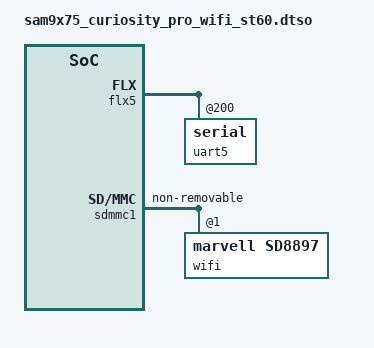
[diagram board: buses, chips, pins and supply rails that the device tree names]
// SPDX-License-Identifier: (GPL-2.0+ OR MIT)
/*
 *  Device Tree overlay for SAM9x75-CURIOSITY-PRO board
 *  in order to use ST60 M.2 SDIO/UART WIFI/BLE chip
 *
 *  Copyright (c) 2026 Microchip Technology Inc. and its subsidiaries
 *
 *  Author: Ryan Wanner <ryan.wanner@microchip.com>
 *
 */
/dts-v1/;
/plugin/;
#include <dt-bindings/mfd/atmel-flexcom.h>
#include <dt-bindings/pinctrl/at91.h>

&flx5 {
	atmel,flexcom-mode = <ATMEL_FLEXCOM_MODE_USART>;
	status = "okay";

	uart5: serial@200 {
		pinctrl-names = "default";
		pinctrl-0 = <&pinctrl_uart5_default>;
		status = "okay";

		bluetooth {
			compatible = "mrvl,88w8897";
		};
	};
};

&sdmmc1 {
	#address-cells = <1>;
	#size-cells = <0>;
	non-removable;
	status = "okay";

	wifi@1 {
		reg = <1>;
		compatible = "marvell,sd8897";
	};
};

&pinctrl {
	flexcom {
		pinctrl_uart5_default: uart5-default {
			atmel,pins =
				<AT91_PIOA 14 AT91_PERIPH_B AT91_PINCTRL_NONE>,
				<AT91_PIOA 15 AT91_PERIPH_B AT91_PINCTRL_NONE>,
				<AT91_PIOA 16 AT91_PERIPH_B AT91_PINCTRL_NONE>,
				<AT91_PIOA 30 AT91_PERIPH_B AT91_PINCTRL_NONE>;
		};
	};
};
